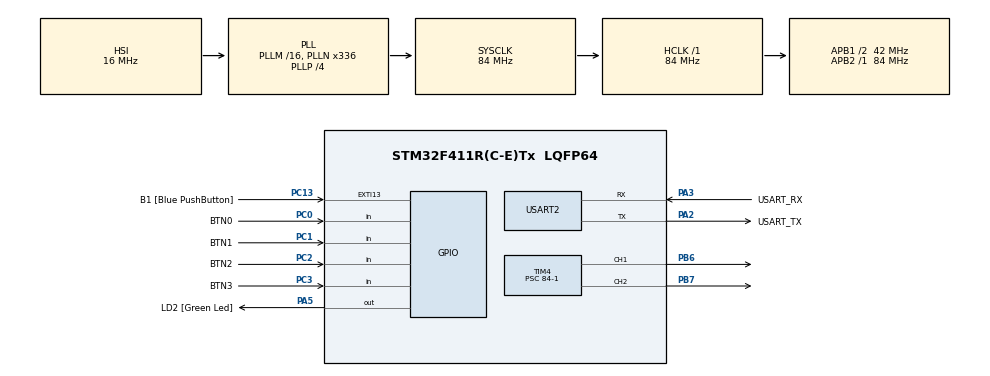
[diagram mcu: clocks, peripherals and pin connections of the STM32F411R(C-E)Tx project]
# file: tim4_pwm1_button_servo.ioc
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Mcu.Family=STM32F4
Mcu.Name=STM32F411R(C-E)Tx
Mcu.Package=LQFP64
NVIC.PriorityGroup=NVIC_PRIORITYGROUP_0
NVIC.TIM4_IRQn=true\:0\:0\:false\:false\:true\:true\:true\:true
PA13.GPIO_Label=TMS
PA13.Mode=Serial_Wire
PA13.Signal=SYS_JTMS-SWDIO
PA14.GPIO_Label=TCK
PA14.Mode=Serial_Wire
PA14.Signal=SYS_JTCK-SWCLK
PA2.GPIO_Label=USART_TX
PA2.Mode=Asynchronous
PA2.Signal=USART2_TX
PA3.GPIO_Label=USART_RX
PA3.Mode=Asynchronous
PA3.Signal=USART2_RX
PA5.GPIO_Label=LD2 [Green Led]
PA5.Signal=GPIO_Output
PB3.GPIO_Label=SWO
PB3.Signal=SYS_JTDO-SWO
PB6.Signal=S_TIM4_CH1
PB7.Signal=S_TIM4_CH2
PC0.GPIO_Label=BTN0
PC0.Signal=GPIO_Input
PC1.GPIO_Label=BTN1
PC1.Signal=GPIO_Input
PC13-ANTI_TAMP.GPIO_Label=B1 [Blue PushButton]
PC13-ANTI_TAMP.GPIO_ModeDefaultEXTI=GPIO_MODE_IT_FALLING
PC13-ANTI_TAMP.Signal=GPXTI13
PC14-OSC32_IN.Signal=RCC_OSC32_IN
PC15-OSC32_OUT.Signal=RCC_OSC32_OUT
PC2.GPIO_Label=BTN2
PC2.Signal=GPIO_Input
PC3.GPIO_Label=BTN3
PC3.Signal=GPIO_Input
PH0\ -\ OSC_IN.Signal=RCC_OSC_IN
PH1\ -\ OSC_OUT.Signal=RCC_OSC_OUT
ProjectManager.HeapSize=0x200
ProjectManager.StackSize=0x400
ProjectManager.TargetToolchain=STM32CubeIDE
RCC.48MHZClocksFreq_Value=84000000
RCC.AHBFreq_Value=84000000
RCC.APB1CLKDivider=RCC_HCLK_DIV2
RCC.APB1Freq_Value=42000000
RCC.APB1TimFreq_Value=84000000
RCC.APB2Freq_Value=84000000
RCC.APB2TimFreq_Value=84000000
RCC.CortexFreq_Value=84000000
RCC.FLatency-AdvancedSettings=FLASH_LATENCY_2
RCC.HCLKFreq_Value=84000000
RCC.HSE_VALUE=8000000
RCC.HSI_VALUE=16000000
RCC.LSE_VALUE=32768
RCC.PLLN=336
RCC.PLLP=RCC_PLLP_DIV4
RCC.SYSCLKFreq_VALUE=84000000
RCC.SYSCLKSource=RCC_SYSCLKSOURCE_PLLCLK
RCC.VCOOutputFreq_Value=336000000
SH.S_TIM4_CH1.0=TIM4_CH1,PWM Generation1 CH1
SH.S_TIM4_CH2.0=TIM4_CH2,PWM Generation2 CH2
TIM4.AutoReloadPreload=TIM_AUTORELOAD_PRELOAD_ENABLE
TIM4.Channel-PWM\ Generation1\ CH1=TIM_CHANNEL_1
TIM4.Channel-PWM\ Generation2\ CH2=TIM_CHANNEL_2
TIM4.Period=20000-1
TIM4.Prescaler=84-1
TIM4.Pulse-PWM\ Generation1\ CH1=0
USART2.VirtualMode=VM_ASYNC
VP_TIM4_VS_ClockSourceINT.Mode=Internal
board=NUCLEO-F411RE

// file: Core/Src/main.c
/* USER CODE BEGIN Header */
/**
  ******************************************************************************
  * @file           : main.c
  * @brief          : Main program body
  ******************************************************************************
  * @attention
  *
  * Copyright (c) 2025 STMicroelectronics.
  * All rights reserved.
  *
  * This software is licensed under terms that can be found in the LICENSE file
  * in the root directory of this software component.
  * If no LICENSE file comes with this software, it is provided AS-IS.
  *
  ******************************************************************************
  */
/* USER CODE END Header */
#include "main.h"

/* USER CODE BEGIN Includes */
#include <stdio.h>
/* USER CODE END Includes */

/* USER CODE BEGIN PD */
#ifdef __GNUC__
/* With GCC, small printf (option LD Linker->Libraries->Small printf
   set to 'Yes') calls __io_putchar() */
#define PUTCHAR_PROTOTYPE int __io_putchar(int ch)
#else
#define PUTCHAR_PROTOTYPE int fputc(int ch, FILE *f)
#endif /* __GNUC__ */
/* USER CODE END PD */

TIM_HandleTypeDef htim4;

UART_HandleTypeDef huart2;

/* USER CODE BEGIN PV */
volatile int time3SecFlag;
volatile unsigned int time3SecCnt;
volatile unsigned int time3Cnt;
volatile int time3CntFlag = 1;
volatile int time3_100msFlag;
/* USER CODE END PV */

void SystemClock_Config(void);
static void MX_GPIO_Init(void);
static void MX_USART2_UART_Init(void);
static void MX_TIM4_Init(void);
/* USER CODE BEGIN PFP */
int getKeyNum();
/* USER CODE END PFP */

int main(void)
{

  /* USER CODE BEGIN 1 */
   int pulse = 0;
   int keyNum = 0;
  /* USER CODE END 1 */

  /* MCU Configuration--------------------------------------------------------*/

  /* Reset of all peripherals, Initializes the Flash interface and the Systick. */
  HAL_Init();

  /* Configure the system clock */
  SystemClock_Config();

  /* Initialize all configured peripherals */
  MX_GPIO_Init();
  MX_USART2_UART_Init();
  MX_TIM4_Init();
  /* USER CODE BEGIN 2 */
  printf("main() start!!\r\n");
  if(HAL_TIM_Base_Start_IT(&htim4) != HAL_OK)
     Error_Handler();
  if(HAL_TIM_PWM_Start(&htim4,TIM_CHANNEL_1) != HAL_OK)
     Error_Handler();
  if(HAL_TIM_PWM_Start(&htim4,TIM_CHANNEL_2) != HAL_OK)
     Error_Handler();

  /* USER CODE END 2 */

  /* Infinite loop */
  /* USER CODE BEGIN WHILE */
  while (1)
  {
      //HAL_GPIO_WritePin(LD2_GPIO_Port,LD2_Pin,HAL_GPIO_ReadPin(BTN0_GPIO_Port,BTN0_Pin));
     if(time3SecFlag)
     {
        HAL_GPIO_TogglePin(LD2_GPIO_Port,LD2_Pin);
        //printf("time3SecCnt : %d, pulse : %d\r\n",time3SecCnt,pulse);
        time3SecFlag = 0;
     }
     keyNum = getKeyNum();
     if(keyNum != 0)
     {
        printf("keyNum : %d\r\n",keyNum);
        //if((pulse == 0 && keyNum == 1) || (pulse == 1000 && keyNum == 2)) continue;
        //if((pulse == 0 && keyNum == 3) || (pulse == 1000 && keyNum == 4)) continue;
        if(keyNum == 1)
        {
           pulse = 500;
        }
        else if(keyNum == 2)
        {
           pulse = 2500;
        }
        else if(keyNum == 3 && pulse > 500)
        {
           pulse -= 200;
        }
        else if(keyNum == 4 && pulse < 2500)
        {
           pulse += 200;
        }
        __HAL_TIM_SetCompare(&htim4, TIM_CHANNEL_2,(pulse-1)<0 ? 0:pulse-1);
        printf("pulse : %d\r\n",pulse);
     }
#if 0
     if(time3_100msFlag)
     {
        time3_100msFlag = 0;
        if(pulse < 1000)
        {
           pulse += 10;
           __HAL_TIM_SetCompare(&htim4, TIM_CHANNEL_1,pulse);
        }
        else if(pulse == 1000)
        {
           pulse = 0;
           __HAL_TIM_SetCompare(&htim4, TIM_CHANNEL_1,pulse);
        }
     }
#endif

    /* USER CODE END WHILE */

  }
}

void SystemClock_Config(void)
{
  RCC_OscInitTypeDef RCC_OscInitStruct = {0};
  RCC_ClkInitTypeDef RCC_ClkInitStruct = {0};

  /** Configure the main internal regulator output voltage
  */
  __HAL_RCC_PWR_CLK_ENABLE();
  __HAL_PWR_VOLTAGESCALING_CONFIG(PWR_REGULATOR_VOLTAGE_SCALE1);

  /** Initializes the RCC Oscillators according to the specified parameters
  * in the RCC_OscInitTypeDef structure.
  */
  RCC_OscInitStruct.OscillatorType = RCC_OSCILLATORTYPE_HSI;
  RCC_OscInitStruct.HSIState = RCC_HSI_ON;
  RCC_OscInitStruct.HSICalibrationValue = RCC_HSICALIBRATION_DEFAULT;
  RCC_OscInitStruct.PLL.PLLState = RCC_PLL_ON;
  RCC_OscInitStruct.PLL.PLLSource = RCC_PLLSOURCE_HSI;
  RCC_OscInitStruct.PLL.PLLM = 16;
  RCC_OscInitStruct.PLL.PLLN = 336;
  RCC_OscInitStruct.PLL.PLLP = RCC_PLLP_DIV4;
  RCC_OscInitStruct.PLL.PLLQ = 4;
  if (HAL_RCC_OscConfig(&RCC_OscInitStruct) != HAL_OK)
  {
    Error_Handler();
  }

  /** Initializes the CPU, AHB and APB buses clocks
  */
  RCC_ClkInitStruct.ClockType = RCC_CLOCKTYPE_HCLK|RCC_CLOCKTYPE_SYSCLK
                              |RCC_CLOCKTYPE_PCLK1|RCC_CLOCKTYPE_PCLK2;
  RCC_ClkInitStruct.SYSCLKSource = RCC_SYSCLKSOURCE_PLLCLK;
  RCC_ClkInitStruct.AHBCLKDivider = RCC_SYSCLK_DIV1;
  RCC_ClkInitStruct.APB1CLKDivider = RCC_HCLK_DIV2;
  RCC_ClkInitStruct.APB2CLKDivider = RCC_HCLK_DIV1;

  if (HAL_RCC_ClockConfig(&RCC_ClkInitStruct, FLASH_LATENCY_2) != HAL_OK)
  {
    Error_Handler();
  }
}

static void MX_TIM4_Init(void)
{

  TIM_ClockConfigTypeDef sClockSourceConfig = {0};
  TIM_MasterConfigTypeDef sMasterConfig = {0};
  TIM_OC_InitTypeDef sConfigOC = {0};

  htim4.Instance = TIM4;
  htim4.Init.Prescaler = 84-1;
  htim4.Init.CounterMode = TIM_COUNTERMODE_UP;
  htim4.Init.Period = 20000-1;
  htim4.Init.ClockDivision = TIM_CLOCKDIVISION_DIV1;
  htim4.Init.AutoReloadPreload = TIM_AUTORELOAD_PRELOAD_DISABLE;
  if (HAL_TIM_Base_Init(&htim4) != HAL_OK)
  {
    Error_Handler();
  }
  sClockSourceConfig.ClockSource = TIM_CLOCKSOURCE_INTERNAL;
  if (HAL_TIM_ConfigClockSource(&htim4, &sClockSourceConfig) != HAL_OK)
  {
    Error_Handler();
  }
  if (HAL_TIM_PWM_Init(&htim4) != HAL_OK)
  {
    Error_Handler();
  }
  sMasterConfig.MasterOutputTrigger = TIM_TRGO_RESET;
  sMasterConfig.MasterSlaveMode = TIM_MASTERSLAVEMODE_DISABLE;
  if (HAL_TIMEx_MasterConfigSynchronization(&htim4, &sMasterConfig) != HAL_OK)
  {
    Error_Handler();
  }
  sConfigOC.OCMode = TIM_OCMODE_PWM1;
  sConfigOC.Pulse = 0;
  sConfigOC.OCPolarity = TIM_OCPOLARITY_HIGH;
  sConfigOC.OCFastMode = TIM_OCFAST_DISABLE;
  if (HAL_TIM_PWM_ConfigChannel(&htim4, &sConfigOC, TIM_CHANNEL_1) != HAL_OK)
  {
    Error_Handler();
  }
  if (HAL_TIM_PWM_ConfigChannel(&htim4, &sConfigOC, TIM_CHANNEL_2) != HAL_OK)
  {
    Error_Handler();
  }
  HAL_TIM_MspPostInit(&htim4);

}

static void MX_USART2_UART_Init(void)
{

  huart2.Instance = USART2;
  huart2.Init.BaudRate = 115200;
  huart2.Init.WordLength = UART_WORDLENGTH_8B;
  huart2.Init.StopBits = UART_STOPBITS_1;
  huart2.Init.Parity = UART_PARITY_NONE;
  huart2.Init.Mode = UART_MODE_TX_RX;
  huart2.Init.HwFlowCtl = UART_HWCONTROL_NONE;
  huart2.Init.OverSampling = UART_OVERSAMPLING_16;
  if (HAL_UART_Init(&huart2) != HAL_OK)
  {
    Error_Handler();
  }

}

static void MX_GPIO_Init(void)
{
  GPIO_InitTypeDef GPIO_InitStruct = {0};

  /* GPIO Ports Clock Enable */
  __HAL_RCC_GPIOC_CLK_ENABLE();
  __HAL_RCC_GPIOH_CLK_ENABLE();
  __HAL_RCC_GPIOA_CLK_ENABLE();
  __HAL_RCC_GPIOB_CLK_ENABLE();

  /*Configure GPIO pin Output Level */
  HAL_GPIO_WritePin(LD2_GPIO_Port, LD2_Pin, GPIO_PIN_RESET);

  /*Configure GPIO pin : B1_Pin */
  GPIO_InitStruct.Pin = B1_Pin;
  GPIO_InitStruct.Mode = GPIO_MODE_IT_FALLING;
  GPIO_InitStruct.Pull = GPIO_NOPULL;
  HAL_GPIO_Init(B1_GPIO_Port, &GPIO_InitStruct);

  /*Configure GPIO pins : BTN0_Pin BTN1_Pin BTN2_Pin BTN3_Pin */
  GPIO_InitStruct.Pin = BTN0_Pin|BTN1_Pin|BTN2_Pin|BTN3_Pin;
  GPIO_InitStruct.Mode = GPIO_MODE_INPUT;
  GPIO_InitStruct.Pull = GPIO_NOPULL;
  HAL_GPIO_Init(GPIOC, &GPIO_InitStruct);

  /*Configure GPIO pin : LD2_Pin */
  GPIO_InitStruct.Pin = LD2_Pin;
  GPIO_InitStruct.Mode = GPIO_MODE_OUTPUT_PP;
  GPIO_InitStruct.Pull = GPIO_NOPULL;
  GPIO_InitStruct.Speed = GPIO_SPEED_FREQ_LOW;
  HAL_GPIO_Init(LD2_GPIO_Port, &GPIO_InitStruct);

}

/* USER CODE BEGIN 4 */
void HAL_TIM_PeriodElapsedCallback(TIM_HandleTypeDef * htim)
{
   if(htim->Instance == TIM4)
   {
      time3CntFlag = 1;
      time3Cnt++;
      if(time3Cnt % 100) time3_100msFlag = 1;
      if(time3Cnt >= 1000)
      {
         time3SecCnt++;
         time3SecFlag = 1;
         time3Cnt = 0;
      }
   }
}
/**
  * @brief  Retargets the C library printf function to the USART.
  * @param  None
  * @retval None
  */
PUTCHAR_PROTOTYPE
{
  /* Place your implementation of fputc here */
  /* e.g. write a character to the USART6 and Loop until the end of transmission */
  HAL_UART_Transmit(&huart2, (uint8_t *)&ch, 1, 0xFFFF);

  return ch;
}
int getKeyNum()
{
   int keyNum = 0;
   int buttonState = 0;
   static int keyNumOld = 0;
   for(int i=0;i<4;i++)
   {
        buttonState = HAL_GPIO_ReadPin(BTN0_GPIO_Port,BTN0_Pin<<i);
        if(buttonState)
        {
           keyNum = i+1;
           if(keyNum != keyNumOld)
           {
              keyNumOld = keyNum;
              return i+1;
           }
           else return 0;
        }
   }
   keyNumOld = keyNum;
   return keyNum;
}
/* USER CODE END 4 */

void Error_Handler(void)
{
  /* USER CODE BEGIN Error_Handler_Debug */
  /* User can add his own implementation to report the HAL error return state */
  __disable_irq();
  while (1)
  {
     printf("Error_Handler()\r\n");
  }
  /* USER CODE END Error_Handler_Debug */
}
